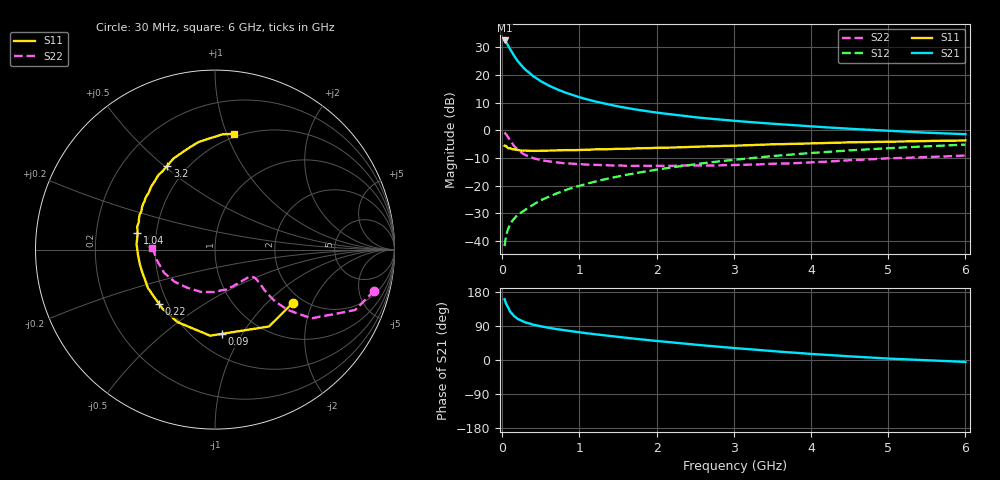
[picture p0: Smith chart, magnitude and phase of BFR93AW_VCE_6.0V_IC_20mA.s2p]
! Infineon Technologies  Discrete & RF Semiconductors
! BFR93AW
! VCE =  6.0 V,  IC =  20 mA
! Common Emitter S-Parameters:  Nov 2015
# GHz  S  MA  R  50
!  f  S11  S21  S12  S22
! GHz  MAG  ANG  MAG  ANG  MAG  ANG  MAG  ANG
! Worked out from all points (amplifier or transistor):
!   206 points, 30 MHz to 6 GHz, reference 50 ohm
!   highest |S21| = 32.5 dB at 30 MHz (marker M1)
!   |S21| within 3 dB of that: start of sweep to 98.76 MHz
!   unconditionally stable (mu >= 1): 562.4 MHz to 2.171 GHz
!   at 200 MHz: K = 0.69, MSG = 27.8 dB, |S12| = -30.5 dB
!   at 1.56 GHz: K = 1.04, MAG = 11.1 dB, |S12| = -16.4 dB
!   at 6 GHz: K = 0.89, MSG = 1.9 dB, |S12| = -5.2 dB
!   S11 on the Smith chart (normalised r, x): 30 MHz: 1.76, -1.45; 90 MHz: 0.68, -0.82; 220 MHz: 0.45, -0.33; 1.04 GHz: 0.39, +0.09; 3.2 GHz: 0.39, +0.51; 6 GHz: 0.47, +1.06
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0.03  0.525 -34.6  42.27 160.4  0.008 75.9  0.9171 -14.4
0.05  0.5235 -54.9  39.32 147.9  0.0127 70.1  0.8502 -23.3
0.09  0.4709 -85.3  31.29 132.7  0.0185 62.6  0.6949 -32.5
0.1  0.4803 -93.2  29.74 127.7  0.02 61.4  0.6597 -35.5
0.15  0.4547 -117.2  22.52 115.9  0.0248 57.9  0.5253 -39.7
0.2  0.4405 -131.5  17.92 108.4  0.0297 60.1  0.4452 -40.8
0.22  0.4343 -135.8  16.62 106.5  0.0309 60.6  0.4232 -40.6
0.26  0.4293 -144.0  14.26 102.4  0.0336 61.5  0.3836 -40.0
0.3  0.4303 -150.1  12.48 99.1  0.0367 62.6  0.357 -39.3
0.4  0.425 -161.3  9.522 93.2  0.0449 65.0  0.3136 -37.1
0.5  0.4265 -169.1  7.717 88.7  0.0544 67.5  0.2871 -35.8
0.6  0.4297 -174.5  6.47 85.0  0.0625 69.0  0.2738 -35.3
0.7  0.432 -179.6  5.591 81.7  0.0716 69.8  0.2642 -35.6
0.88  0.4372 173.1  4.489 76.4  0.0885 70.7  0.2504 -37.2
1.04  0.4419 167.8  3.826 72.1  0.1027 70.6  0.2424 -39.6
1.5  0.4622 155.6  2.706 61.0  0.1458 69.4  0.231 -49.4
2.02  0.4829 143.0  2.074 49.8  0.1958 66.2  0.2278 -63.6
3.1  0.5319 121.4  1.449 30.1  0.302 57.2  0.2371 -94.4
3.2  0.5377 119.6  1.413 28.5  0.3119 56.2  0.2385 -97.9
4.1  0.5836 104.7  1.153 14.8  0.3972 47.2  0.2664 -129.5
5.1  0.6252 91.1  0.966 2.9  0.4825 36.3  0.3137 -158.4
6  0.6545 80.5  0.851 -5.1  0.5511 26.7  0.3495 178.3
